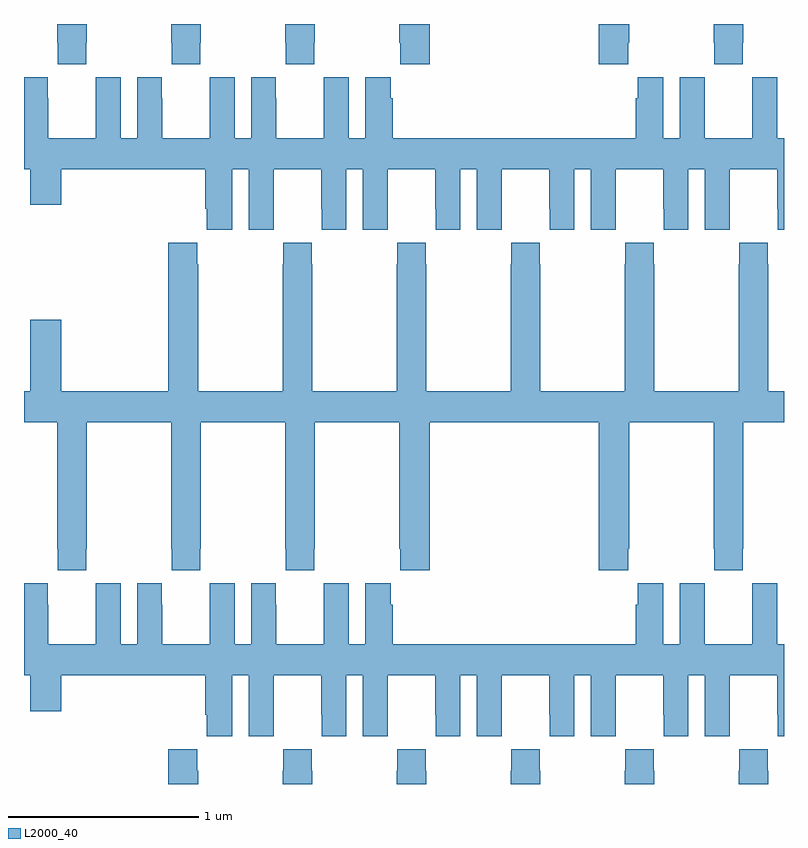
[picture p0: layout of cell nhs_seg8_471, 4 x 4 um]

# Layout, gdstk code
import gdstk
lib = gdstk.Library(unit=1e-6, precision=1e-09)
def P(c, l, *ps):  # polygons
    for p in ps: c.add(gdstk.Polygon(p, *l))
L2000_40 = (2000, 40)

nhs_seg8_471 = lib.new_cell('nhs_seg8_471')
P(nhs_seg8_471, L2000_40, [(144.783,1147.801),(144.786,1147.801),(144.786,1147.9),(144.631,1147.9),(144.631,1147.801),(144.633,1147.801),(144.633,1147.689),(144.783,1147.689)],
  [(144.179,1147.801),(144.186,1147.801),(144.186,1147.9),(144.026,1147.9),(144.026,1147.689),(144.179,1147.689)],
  [(141.327,1147.801),(141.33,1147.801),(141.33,1147.9),(141.175,1147.9),(141.175,1147.801),(141.177,1147.801),(141.177,1147.689),(141.327,1147.689)],
  [(141.927,1147.801),(141.93,1147.801),(141.93,1147.9),(141.775,1147.9),(141.775,1147.801),(141.777,1147.801),(141.777,1147.689),(141.927,1147.689)],
  [(142.527,1147.801),(142.53,1147.801),(142.53,1147.9),(142.375,1147.9),(142.375,1147.801),(142.377,1147.801),(142.377,1147.689),(142.527,1147.689)],
  [(143.135,1147.9),(142.975,1147.9),(142.975,1147.801),(142.981,1147.801),(142.981,1147.689),(143.135,1147.689)],
  [(142.096,1147.136),(142.184,1147.136),(142.184,1146.816),(142.314,1146.816),(142.314,1146.928),(142.315,1146.928),(142.315,1147.136),(142.565,1147.136),(142.565,1146.928),(142.566,1146.928),(142.566,1146.816),(142.696,1146.816),(142.696,1147.136),(142.784,1147.136),(142.784,1146.816),(142.914,1146.816),(142.914,1146.928),(142.915,1146.928),(142.915,1147.136),(143.165,1147.136),(143.165,1146.928),(143.166,1146.928),(143.166,1146.816),(143.296,1146.816),(143.296,1147.136),(143.384,1147.136),(143.384,1146.816),(143.514,1146.816),(143.514,1146.928),(143.515,1146.928),(143.515,1147.136),(143.765,1147.136),(143.765,1146.928),(143.766,1146.928),(143.766,1146.816),(143.896,1146.816),(143.896,1147.136),(143.984,1147.136),(143.984,1146.816),(144.114,1146.816),(144.114,1146.928),(144.115,1146.928),(144.115,1147.136),(144.365,1147.136),(144.365,1146.928),(144.366,1146.928),(144.366,1146.816),(144.496,1146.816),(144.496,1147.136),(144.584,1147.136),(144.584,1146.816),(144.714,1146.816),(144.714,1146.928),(144.715,1146.928),(144.715,1147.136),(144.965,1147.136),(144.965,1146.928),(144.966,1146.928),(144.966,1146.816),(145,1146.816),(145,1147.3),(144.964,1147.3),(144.964,1147.621),(144.834,1147.621),(144.834,1147.508),(144.833,1147.508),(144.833,1147.3),(144.583,1147.3),(144.583,1147.508),(144.582,1147.508),(144.582,1147.621),(144.452,1147.621),(144.452,1147.3),(144.364,1147.3),(144.364,1147.621),(144.23,1147.621),(144.23,1147.508),(144.221,1147.508),(144.221,1147.3),(142.94,1147.3),(142.94,1147.508),(142.93,1147.508),(142.93,1147.621),(142.796,1147.621),(142.796,1147.3),(142.708,1147.3),(142.708,1147.621),(142.578,1147.621),(142.578,1147.508),(142.577,1147.508),(142.577,1147.3),(142.327,1147.3),(142.327,1147.508),(142.326,1147.508),(142.326,1147.621),(142.196,1147.621),(142.196,1147.3),(142.108,1147.3),(142.108,1147.621),(141.978,1147.621),(141.978,1147.508),(141.977,1147.508),(141.977,1147.3),(141.727,1147.3),(141.727,1147.508),(141.726,1147.508),(141.726,1147.621),(141.596,1147.621),(141.596,1147.3),(141.508,1147.3),(141.508,1147.621),(141.378,1147.621),(141.378,1147.508),(141.377,1147.508),(141.377,1147.3),(141.127,1147.3),(141.127,1147.508),(141.126,1147.508),(141.126,1147.621),(141,1147.621),(141,1147.136),(141.032,1147.136),(141.032,1146.948),(141.196,1146.948),(141.196,1147.136),(141.953,1147.136),(141.953,1146.928),(141.962,1146.928),(141.962,1146.816),(142.096,1146.816)],
  [(144.165,1146.635),(144.163,1146.635),(144.163,1145.968),(143.718,1145.968),(143.718,1146.635),(143.715,1146.635),(143.715,1146.748),(143.565,1146.748),(143.565,1146.635),(143.563,1146.635),(143.563,1145.968),(143.118,1145.968),(143.118,1146.635),(143.115,1146.635),(143.115,1146.748),(142.965,1146.748),(142.965,1146.635),(142.963,1146.635),(142.963,1145.968),(142.518,1145.968),(142.518,1146.635),(142.515,1146.635),(142.515,1146.748),(142.365,1146.748),(142.365,1146.635),(142.363,1146.635),(142.363,1145.968),(141.918,1145.968),(141.918,1146.635),(141.911,1146.635),(141.911,1146.748),(141.758,1146.748),(141.758,1145.968),(141.196,1145.968),(141.196,1146.343),(141.032,1146.343),(141.032,1145.968),(141,1145.968),(141,1145.804),(141.175,1145.804),(141.175,1145.137),(141.177,1145.137),(141.177,1145.025),(141.327,1145.025),(141.327,1145.137),(141.33,1145.137),(141.33,1145.804),(141.775,1145.804),(141.775,1145.137),(141.777,1145.137),(141.777,1145.025),(141.927,1145.025),(141.927,1145.137),(141.93,1145.137),(141.93,1145.804),(142.375,1145.804),(142.375,1145.137),(142.377,1145.137),(142.377,1145.025),(142.527,1145.025),(142.527,1145.137),(142.53,1145.137),(142.53,1145.804),(142.975,1145.804),(142.975,1145.137),(142.981,1145.137),(142.981,1145.025),(143.135,1145.025),(143.135,1145.804),(144.026,1145.804),(144.026,1145.025),(144.179,1145.025),(144.179,1145.137),(144.186,1145.137),(144.186,1145.804),(144.631,1145.804),(144.631,1145.137),(144.633,1145.137),(144.633,1145.025),(144.783,1145.025),(144.783,1145.137),(144.786,1145.137),(144.786,1145.804),(145,1145.804),(145,1145.968),(144.918,1145.968),(144.918,1146.635),(144.915,1146.635),(144.915,1146.748),(144.765,1146.748),(144.765,1146.635),(144.763,1146.635),(144.763,1145.968),(144.318,1145.968),(144.318,1146.635),(144.315,1146.635),(144.315,1146.748),(144.165,1146.748)],
  [(142.94,1144.844),(142.93,1144.844),(142.93,1144.957),(142.796,1144.957),(142.796,1144.636),(142.708,1144.636),(142.708,1144.957),(142.578,1144.957),(142.578,1144.844),(142.577,1144.844),(142.577,1144.636),(142.327,1144.636),(142.327,1144.844),(142.326,1144.844),(142.326,1144.957),(142.196,1144.957),(142.196,1144.636),(142.108,1144.636),(142.108,1144.957),(141.978,1144.957),(141.978,1144.844),(141.977,1144.844),(141.977,1144.636),(141.727,1144.636),(141.727,1144.844),(141.726,1144.844),(141.726,1144.957),(141.596,1144.957),(141.596,1144.636),(141.508,1144.636),(141.508,1144.957),(141.378,1144.957),(141.378,1144.844),(141.377,1144.844),(141.377,1144.636),(141.127,1144.636),(141.127,1144.844),(141.126,1144.844),(141.126,1144.957),(141,1144.957),(141,1144.472),(141.032,1144.472),(141.032,1144.284),(141.196,1144.284),(141.196,1144.472),(141.953,1144.472),(141.953,1144.264),(141.962,1144.264),(141.962,1144.152),(142.096,1144.152),(142.096,1144.472),(142.184,1144.472),(142.184,1144.152),(142.314,1144.152),(142.314,1144.264),(142.315,1144.264),(142.315,1144.472),(142.565,1144.472),(142.565,1144.264),(142.566,1144.264),(142.566,1144.152),(142.696,1144.152),(142.696,1144.472),(142.784,1144.472),(142.784,1144.152),(142.914,1144.152),(142.914,1144.264),(142.915,1144.264),(142.915,1144.472),(143.165,1144.472),(143.165,1144.264),(143.166,1144.264),(143.166,1144.152),(143.296,1144.152),(143.296,1144.472),(143.384,1144.472),(143.384,1144.152),(143.514,1144.152),(143.514,1144.264),(143.515,1144.264),(143.515,1144.472),(143.765,1144.472),(143.765,1144.264),(143.766,1144.264),(143.766,1144.152),(143.896,1144.152),(143.896,1144.472),(143.984,1144.472),(143.984,1144.152),(144.114,1144.152),(144.114,1144.264),(144.115,1144.264),(144.115,1144.472),(144.365,1144.472),(144.365,1144.264),(144.366,1144.264),(144.366,1144.152),(144.496,1144.152),(144.496,1144.472),(144.584,1144.472),(144.584,1144.152),(144.714,1144.152),(144.714,1144.264),(144.715,1144.264),(144.715,1144.472),(144.965,1144.472),(144.965,1144.264),(144.966,1144.264),(144.966,1144.152),(145,1144.152),(145,1144.636),(144.964,1144.636),(144.964,1144.957),(144.834,1144.957),(144.834,1144.844),(144.833,1144.844),(144.833,1144.636),(144.583,1144.636),(144.583,1144.844),(144.582,1144.844),(144.582,1144.957),(144.452,1144.957),(144.452,1144.636),(144.364,1144.636),(144.364,1144.957),(144.23,1144.957),(144.23,1144.844),(144.221,1144.844),(144.221,1144.636),(142.94,1144.636)],
  [(143.118,1143.971),(143.115,1143.971),(143.115,1144.084),(142.965,1144.084),(142.965,1143.971),(142.963,1143.971),(142.963,1143.9),(143.118,1143.9)],
  [(142.518,1143.971),(142.515,1143.971),(142.515,1144.084),(142.365,1144.084),(142.365,1143.971),(142.363,1143.971),(142.363,1143.9),(142.518,1143.9)],
  [(141.918,1143.971),(141.911,1143.971),(141.911,1144.084),(141.758,1144.084),(141.758,1143.9),(141.918,1143.9)],
  [(143.718,1143.971),(143.715,1143.971),(143.715,1144.084),(143.565,1144.084),(143.565,1143.971),(143.563,1143.971),(143.563,1143.9),(143.718,1143.9)],
  [(144.918,1143.971),(144.915,1143.971),(144.915,1144.084),(144.765,1144.084),(144.765,1143.971),(144.763,1143.971),(144.763,1143.9),(144.918,1143.9)],
  [(144.318,1143.971),(144.315,1143.971),(144.315,1144.084),(144.165,1144.084),(144.165,1143.971),(144.163,1143.971),(144.163,1143.9),(144.318,1143.9)])

lib.write_gds('nhs_seg8_471.gds')
